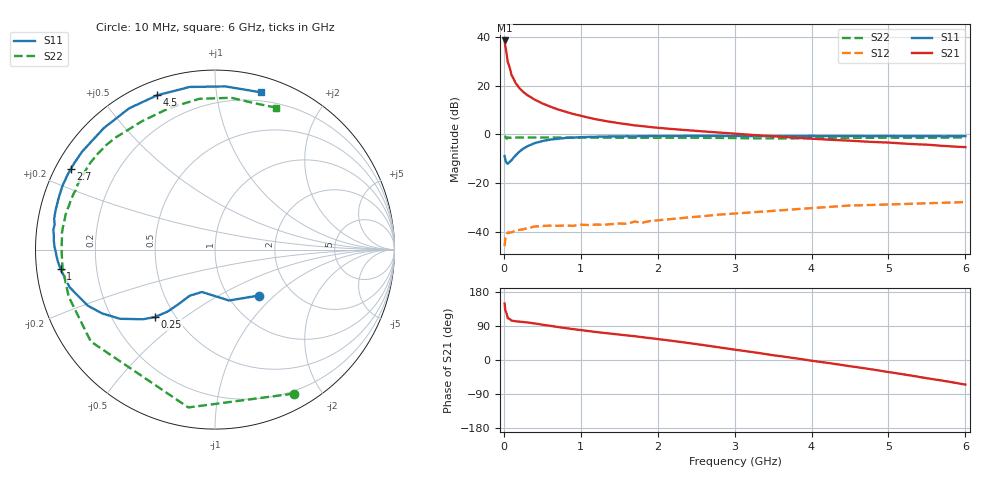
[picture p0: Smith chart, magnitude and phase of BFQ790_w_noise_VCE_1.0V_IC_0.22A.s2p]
! (c) 2015  Infineon Technologies AG, Munich
! Infineon Technologies  Discrete & RF Semiconductors
! BFQ790
! VCE =  1.0 V,  IC = 0.22 A
! Common Emitter S-Parameters:  May 2015
# GHz  S  MA  R  50
!  f  S11  S21  S12  S22
! GHz  MAG  ANG  MAG  ANG  MAG  ANG  MAG  ANG
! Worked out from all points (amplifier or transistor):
!   77 points, 10 MHz to 6 GHz, reference 50 ohm
!   highest |S21| = 38.5 dB at 10 MHz (marker M1)
!   |S21| within 3 dB of that: start of sweep to 22.41 MHz
!   unconditionally stable (mu >= 1): 209.9 MHz to end of sweep
!   at 130 MHz: K = 0.77, MSG = 31.2 dB, |S12| = -39.9 dB
!   at 2.2 GHz: K = 1.31, MAG = 15.1 dB, |S12| = -34.8 dB
!   at 6 GHz: K = 1.16, MAG = 8.8 dB, |S12| = -27.9 dB
!   lowest NFmin = 3.50 dB at 1.5 GHz
!   S11 on the Smith chart (normalised r, x): 10 MHz: 1.38, -0.81; 250 MHz: 0.39, -0.39; 1 GHz: 0.07, -0.06; 2.7 GHz: 0.04, +0.26; 4.5 GHz: 0.06, +0.69; 6 GHz: 0.13, +1.33
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0.01  0.355 -46.1  84.48 148.9  0.005 59.2  0.9146 -61.3
0.02  0.2942 -74.6  62.68 129.9  0.0075 42.1  0.892 -99.6
0.05  0.2472 -107.0  30.83 110.6  0.0095 21.9  0.8608 -143.5
0.1  0.2926 -118.7  16.44 103.9  0.0096 13.5  0.8562 -162.1
0.15  0.3628 -123.6  11.44 102.2  0.0104 15.6  0.8526 -169.5
0.2  0.4349 -127.4  8.947 101.2  0.0108 17.6  0.8557 -173.3
0.25  0.5019 -131.6  7.457 100.3  0.0111 15.6  0.8541 -176.1
0.3  0.559 -136.0  6.421 99.2  0.0116 14.0  0.854 -178.2
0.4  0.6546 -143.9  5.142 96.3  0.0127 13.3  0.8544 178.5
0.5  0.7224 -150.5  4.298 93.2  0.013 10.9  0.8549 176.1
0.7  0.8046 -161.2  3.243 87.1  0.0131 13.8  0.8567 171.9
0.9  0.8519 -169.5  2.61 81.4  0.0131 10.9  0.8543 168.6
1  0.8668 -172.7  2.392 79.0  0.0138 9.5  0.8552 166.9
1.1  0.8793 -176.0  2.192 76.4  0.0136 13.2  0.8535 165.4
1.5  0.9018 174.8  1.682 67.1  0.0146 15.0  0.8475 159.8
2.1  0.9157 163.5  1.314 52.8  0.0176 14.9  0.8451 150.7
2.7  0.92 150.7  1.109 36.3  0.0215 11.2  0.8414 138.5
3.1  0.9167 141.5  1 24.6  0.024 5.5  0.8293 129.2
4.1  0.918 119.2  0.792 -4.6  0.031 -9.8  0.829 105.4
4.5  0.9181 110.6  0.737 -16.4  0.0343 -17.8  0.8447 95.9
5.1  0.9124 96.4  0.657 -34.8  0.0364 -31.7  0.8476 81.9
6  0.9129 73.6  0.543 -64.9  0.0404 -52.4  0.8607 66.8
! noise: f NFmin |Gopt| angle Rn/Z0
0.45  5.75  0.49  142  0.55
0.9  4.04  0.62  168  0.18
1.5  3.5  0.72  -172  0.1
1.8  3.53  0.73  -167  0.11
2.6  3.76  0.75  -151  0.29
3.5  4.27  0.85  -135  0.6
